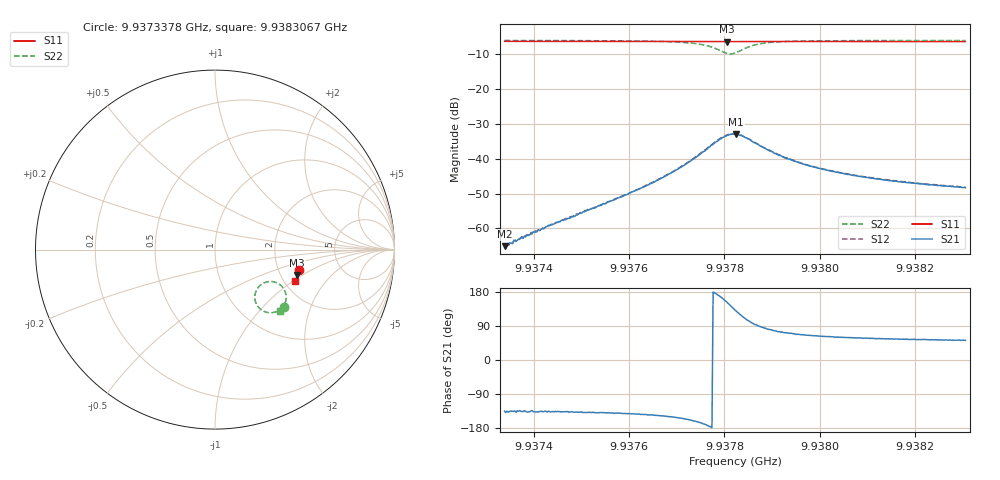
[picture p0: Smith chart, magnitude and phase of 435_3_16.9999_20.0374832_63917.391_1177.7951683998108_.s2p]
#  HZ  S  RI  R  50.00
! Rohde & Schwarz Vector Network Analyzer
! Rohde-Schwarz,ZNB20-2Port,1311601062101988,3.16
! Created: UTC 3/20/2024, 11:11:38 PM
! freq[Hz]  re:S11  im:S11  re:S21  im:S21  re:S12  im:S12  re:S22  im:S22
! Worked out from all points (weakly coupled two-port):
!   401 points, 9.9373378 GHz to 9.9383067 GHz, reference 50 ohm
!   highest |S21| = -32.94 dB at 9.9378247 GHz (marker M1); lowest = -65.1 dB at 9.9373378 GHz (marker M2)
!   lowest |S11| = -6.4 dB at 9.9378053 GHz (marker M3), VSWR 2.84, Z = 123 - j44.8 ohm
!   |S11| at or under -10 dB: nowhere
!   |S22| runs from -9.9 to -6.1 dB; largest |S21 - S12| = 0.00097
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9.93733781e9  0.4705 -0.1109  -0.000393 -0.000393  -0.000406 -0.000411  0.382 -0.3192
9.93734992e9  0.4703 -0.1118  -0.000436 -0.000435  -0.000442 -0.000431  0.3809 -0.3201
9.93737657e9  0.4696 -0.1137  -0.000516 -0.000499  -0.000537 -0.000509  0.3786 -0.3223
9.93742986e9  0.4686 -0.1172  -0.000784 -0.00078  -0.000816 -0.00072  0.3741 -0.3262
9.93750011e9  0.4669 -0.1218  -0.0012 -0.00113  -0.00128 -0.00116  0.3666 -0.332
9.93760184e9  0.4648 -0.1287  -0.00253 -0.00199  -0.00262 -0.00194  0.3503 -0.3422
9.9376624e9  0.4633 -0.1328  -0.00421 -0.00277  -0.00434 -0.00276  0.333 -0.3487
9.93771085e9  0.4617 -0.1361  -0.00692 -0.00337  -0.00714 -0.00332  0.3083 -0.3518
9.93775687e9  0.4599 -0.139  -0.0125 -0.00245  -0.0129 -0.00231  0.2631 -0.3388
9.93778109e9  0.4586 -0.1404  -0.0172 0.00119  -0.0175 0.00162  0.2311 -0.3043
9.93779563e9  0.4581 -0.1408  -0.0192 0.00587  -0.0194 0.00643  0.2215 -0.2645
9.93780532e9  0.4576 -0.1408  -0.0192 0.00994  -0.0192 0.0107  0.2282 -0.2321
9.93782227e9  0.4576 -0.1412  -0.015 0.0167  -0.0147 0.0174  0.2696 -0.1868
9.9378247e9  0.4577 -0.1413  -0.0142 0.0175  -0.0139 0.0181  0.2777 -0.1835
9.93783438e9  0.4578 -0.1416  -0.0104 0.0189  -0.00971 0.0195  0.3103 -0.1776
9.93785134e9  0.4581 -0.1425  -0.00433 0.0186  -0.00381 0.0189  0.3554 -0.191
9.93788041e9  0.4582 -0.1448  0.000968 0.0147  0.00148 0.0147  0.3892 -0.2306
9.93792885e9  0.4572 -0.1483  0.00315 0.00967  0.0034 0.00981  0.3958 -0.2738
9.93798457e9  0.4561 -0.1522  0.00332 0.00696  0.00347 0.007  0.3903 -0.2982
9.93805481e9  0.4542 -0.1571  0.00308 0.00519  0.0032 0.00521  0.382 -0.3149
9.93814686e9  0.4516 -0.1631  0.00274 0.00402  0.00285 0.00406  0.3732 -0.3278
9.93830673e9  0.4474 -0.1733  0.00238 0.00302  0.00248 0.00302  0.3607 -0.3422
